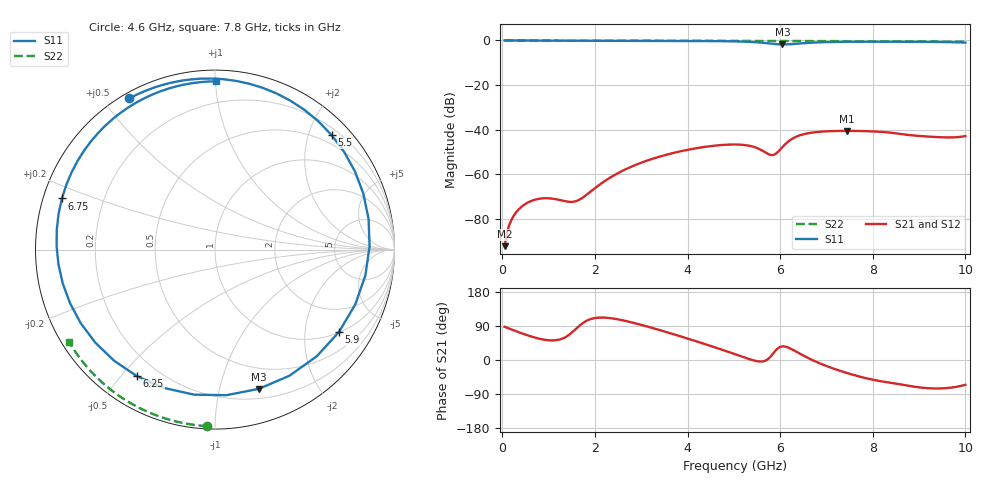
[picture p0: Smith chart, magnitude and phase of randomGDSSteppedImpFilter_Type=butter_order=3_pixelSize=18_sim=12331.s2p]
! freq	dB(S11)	phase(S11)	dB(S12)	phase(S12)
!  dB(S21)	phase(S21)	dB(S22)	phase(S22)
!S-par simulation data
#  GHz  S  DB  R 50
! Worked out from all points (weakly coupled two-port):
!   200 points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, 50 MHz to 10 GHz, reference 50 ohm
!   highest |S21| = -40.48 dB at 7.45 GHz (marker M1); lowest = -92.1 dB at 50 MHz (marker M2)
!   lowest |S11| = -1.8 dB at 6.05 GHz (marker M3), VSWR 9.71, Z = 14.4 - j66.1 ohm
!   |S11| at or under -10 dB: nowhere
!   |S22| runs from -0.6 to 0.0 dB; largest |S21 - S12| = 0
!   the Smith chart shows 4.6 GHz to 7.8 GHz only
!   S11 on the Smith chart (normalised r, x): 4.6 GHz: 0.02, +0.58; 5.5 GHz: 0.32, +2.41; 5.9 GHz: 1.02, -3.00; 6.25 GHz: 0.12, -0.55; 6.75 GHz: 0.05, +0.16; 7.8 GHz: 0.06, +1.00
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0.05  -0.00 -3.8  -92.10 87.6  -92.10 87.6  -0.00 -1.1
0.9  -0.08 -65.2  -70.66 53.7  -70.66 53.7  -0.02 -19.3
1.75  -0.12 -114.9  -70.18 98.3  -70.18 98.3  -0.05 -37.2
2.55  -0.14 -152.1  -58.83 106.0  -58.83 106.0  -0.07 -53.5
3.4  -0.17 173.1  -51.99 78.9  -51.99 78.9  -0.09 -70.2
4.05  -0.21 146.1  -48.77 54.7  -48.77 54.7  -0.11 -82.4
4.6  -0.28 119.6  -47.07 33.1  -47.07 33.1  -0.13 -92.5
5.05  -0.42 90.8  -46.58 14.2  -46.58 14.2  -0.15 -100.6
5.5  -0.81 44.4  -48.16 -3.1  -48.16 -3.1  -0.18 -108.5
5.75  -1.30 1.2  -50.93 3.5  -50.93 3.5  -0.19 -112.8
5.9  -1.62 -33.5  -50.81 24.9  -50.81 24.9  -0.20 -115.4
6.05  -1.79 -72.6  -47.70 35.9  -47.70 35.9  -0.21 -118.0
6.25  -1.63 -121.7  -44.16 28.5  -44.16 28.5  -0.22 -121.4
6.45  -1.30 -159.7  -42.31 15.1  -42.31 15.1  -0.23 -124.8
6.7  -0.97 166.9  -41.23 -0.4  -41.23 -0.4  -0.25 -129.0
6.75  -0.92 161.5  -41.10 -3.2  -41.10 -3.2  -0.25 -129.9
7.05  -0.73 135.2  -40.63 -18.2  -40.63 -18.2  -0.27 -134.9
7.45  -0.60 108.8  -40.48 -34.6  -40.48 -34.6  -0.31 -141.6
7.8  -0.56 89.7  -40.58 -46.4  -40.58 -46.4  -0.34 -147.5
8.35  -0.56 62.6  -41.22 -59.5  -41.22 -59.5  -0.39 -156.8
9.3  -0.67 16.5  -43.17 -75.0  -43.17 -75.0  -0.50 -173.2
10  -0.97 -24.6  -42.81 -65.4  -42.81 -65.4  -0.58 174.2
